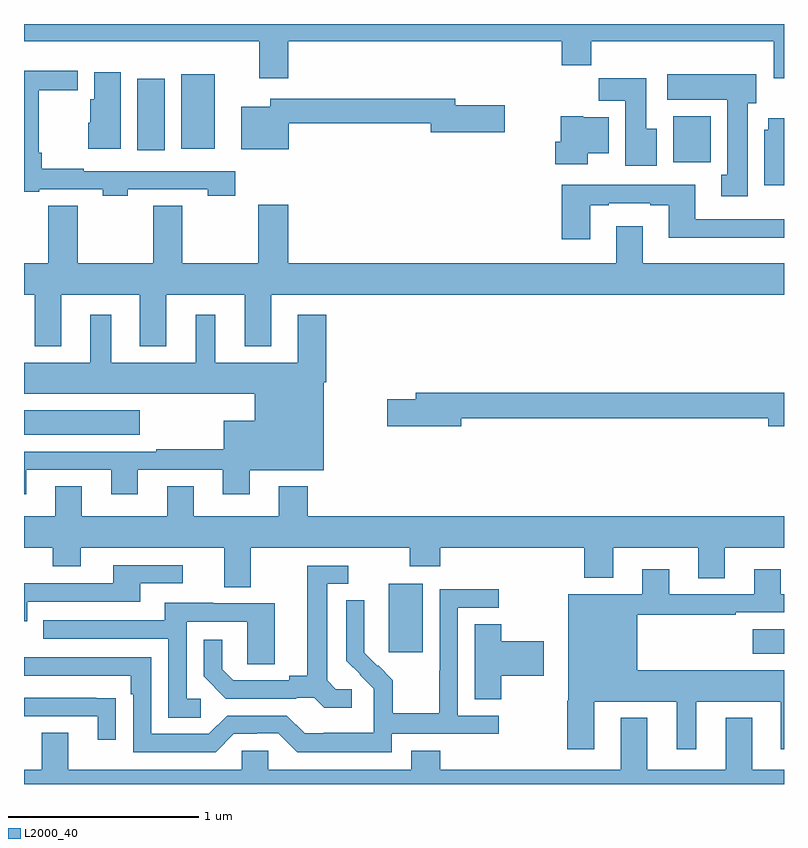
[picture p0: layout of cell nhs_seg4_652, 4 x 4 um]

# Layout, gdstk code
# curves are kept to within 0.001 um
import gdstk
lib = gdstk.Library(unit=1e-6, precision=1e-09)
def R(c, l, rs):  # rectangles x0, y0, x1, y1
    for r in rs: c.add(gdstk.rectangle(r[:2], r[2:], *l))
def P(c, l, *ps):  # polygons
    for p in ps: c.add(gdstk.Polygon(p, *l))
L2000_40 = (2000, 40)

nhs_seg4_652 = lib.new_cell('nhs_seg4_652')
R(nhs_seg4_652, L2000_40, [(146.835,805.586,147,805.714), (144.92,805.593,145.099,805.954), (143,806.738,143.608,806.866), (146.417,808.172,146.614,808.414), (143.597,808.236,143.74,808.612), (143.828,808.244,144.004,808.636)])
P(nhs_seg4_652, L2000_40, [(144.392,808.808),(145.829,808.808),(145.829,808.684),(145.985,808.684),(145.985,808.808),(146.945,808.808),(146.945,808.614),(147,808.614),(147,808.9),(143,808.9),(143,808.808),(144.239,808.808),(144.239,808.614),(144.392,808.614)],
  [(143.547,808.029),(143.967,808.029),(143.967,807.997),(144.112,807.997),(144.112,808.125),(143.315,808.125),(143.315,808.138),(143.093,808.138),(143.093,808.222),(143.078,808.222),(143.078,808.552),(143.284,808.552),(143.284,808.654),(143,808.654),(143,808.017),(143.08,808.017),(143.08,808.029),(143.415,808.029),(143.415,807.997),(143.547,807.997)],
  [(143.509,808.645),(143.369,808.645),(143.369,808.503),(143.348,808.503),(143.348,808.38),(143.339,808.38),(143.339,808.244),(143.509,808.244)],
  [(146.809,808.482),(146.854,808.482),(146.854,808.636),(146.385,808.636),(146.385,808.502),(146.702,808.502),(146.702,808.106),(146.669,808.106),(146.669,807.993),(146.809,807.993)],
  [(146.329,808.348),(146.275,808.348),(146.275,808.615),(146.026,808.615),(146.026,808.496),(146.165,808.496),(146.165,808.155),(146.329,808.155)],
  [(144.394,808.378),(145.142,808.378),(145.142,808.331),(145.531,808.331),(145.531,808.473),(145.27,808.473),(145.27,808.507),(144.296,808.507),(144.296,808.465),(144.143,808.465),(144.143,808.241),(144.394,808.241)],
  [(145.966,808.22),(146.077,808.22),(146.077,808.408),(145.944,808.408),(145.944,808.414),(145.826,808.414),(145.826,808.281),(145.796,808.281),(145.796,808.163),(145.966,808.163)],
  [(147,808.405),(146.918,808.405),(146.918,808.344),(146.897,808.344),(146.897,808.052),(147,808.052)],
  [(145.981,807.945),(146.077,807.945),(146.077,807.957),(146.297,807.957),(146.297,807.945),(146.393,807.945),(146.393,807.776),(147,807.776),(147,807.873),(146.533,807.873),(146.533,808.053),(145.829,808.053),(145.829,807.768),(145.981,807.768)],
  [(143.197,807.476),(143.609,807.476),(143.609,807.203),(143.749,807.203),(143.749,807.476),(144.161,807.476),(144.161,807.203),(144.301,807.203),(144.301,807.476),(147,807.476),(147,807.64),(146.257,807.64),(146.257,807.835),(146.117,807.835),(146.117,807.64),(144.392,807.64),(144.392,807.949),(144.232,807.949),(144.232,807.64),(143.834,807.64),(143.834,807.944),(143.68,807.944),(143.68,807.64),(143.282,807.64),(143.282,807.944),(143.128,807.944),(143.128,807.64),(143,807.64),(143,807.476),(143.057,807.476),(143.057,807.203),(143.197,807.203)],
  [(143.011,806.553),(143.459,806.553),(143.459,806.424),(143.599,806.424),(143.599,806.553),(144.047,806.553),(144.047,806.424),(144.187,806.424),(144.187,806.552),(144.577,806.552),(144.577,807.014),(144.59,807.014),(144.59,807.37),(144.44,807.37),(144.44,807.118),(144.007,807.118),(144.007,807.37),(143.903,807.37),(143.903,807.118),(143.458,807.118),(143.458,807.37),(143.348,807.37),(143.348,807.118),(143,807.118),(143,806.954),(144.215,806.954),(144.215,806.812),(144.05,806.812),(144.05,806.662),(143.695,806.662),(143.695,806.649),(143,806.649),(143,806.424),(143.011,806.424)],
  [(145.3,806.824),(146.918,806.824),(146.918,806.782),(147,806.782),(147,806.96),(145.061,806.96),(145.061,806.924),(144.912,806.924),(144.912,806.782),(145.3,806.782)],
  [(143.165,806.468),(143.165,806.308),(143,806.308),(143,806.144),(143.152,806.144),(143.152,806.045),(143.299,806.045),(143.299,806.144),(144.053,806.144),(144.053,805.936),(144.193,805.936),(144.193,806.144),(145.03,806.144),(145.03,806.045),(145.19,806.045),(145.19,806.144),(145.949,806.144),(145.949,805.985),(146.101,805.985),(146.101,806.144),(146.549,806.144),(146.549,805.984),(146.689,805.984),(146.689,806.144),(147,806.144),(147,806.308),(144.494,806.308),(144.494,806.467),(144.341,806.467),(144.341,806.308),(143.893,806.308),(143.893,806.468),(143.753,806.468),(143.753,806.308),(143.305,806.308),(143.305,806.468)],
  [(143.016,805.86),(143.611,805.86),(143.611,805.956),(143.836,805.956),(143.836,806.052),(143.471,806.052),(143.471,805.956),(143,805.956),(143,805.757),(143.016,805.757)],
  [(144.724,805.398),(144.642,805.398),(144.595,805.445),(144.595,805.953),(144.706,805.953),(144.706,806.049),(144.491,806.049),(144.491,805.469),(144.395,805.469),(144.395,805.446),(144.1,805.446),(144.043,805.503),(144.043,805.66),(143.946,805.66),(143.946,805.466),(144.062,805.35),(144.434,805.35),(144.434,805.353),(144.528,805.353),(144.58,805.301),(144.724,805.301)],
  [(146.002,805.334),(146.435,805.334),(146.435,805.083),(146.539,805.083),(146.539,805.334),(146.984,805.334),(146.984,805.083),(147,805.083),(147,805.498),(146.227,805.498),(146.227,805.791),(146.747,805.791),(146.747,805.803),(147,805.803),(147,805.899),(146.983,805.899),(146.983,806.029),(146.843,806.029),(146.843,805.899),(146.395,805.899),(146.395,806.029),(146.255,806.029),(146.255,805.9),(145.865,805.9),(145.865,805.338),(145.858,805.338),(145.858,805.083),(146.002,805.083)],
  [(144.936,805.164),(145.498,805.164),(145.498,805.26),(145.284,805.26),(145.284,805.827),(145.498,805.827),(145.498,805.926),(145.188,805.926),(145.188,805.496),(145.186,805.496),(145.186,805.273),(144.941,805.273),(144.941,805.447),(144.864,805.524),(144.861,805.521),(144.791,805.592),(144.792,805.868),(144.696,805.868),(144.696,805.55),(144.842,805.402),(144.842,805.305),(144.84,805.305),(144.84,805.171),(144.577,805.171),(144.577,805.167),(144.477,805.167),(144.384,805.26),(144.069,805.26),(143.973,805.164),(143.67,805.164),(143.67,805.566),(143,805.566),(143,805.47),(143.561,805.47),(143.561,805.373),(143.574,805.373),(143.574,805.068),(144.009,805.068),(144.105,805.164),(144.224,805.164),(144.224,805.167),(144.339,805.167),(144.439,805.067),(144.936,805.067)],
  [(143.929,805.35),(143.856,805.35),(143.856,805.755),(144.174,805.755),(144.174,805.531),(144.319,805.531),(144.319,805.851),(143.995,805.851),(143.995,805.855),(143.741,805.855),(143.741,805.761),(143.101,805.761),(143.101,805.665),(143.76,805.665),(143.76,805.249),(143.929,805.249)],
  [(145.512,805.469),(145.735,805.469),(145.735,805.652),(145.512,805.652),(145.512,805.742),(145.373,805.742),(145.373,805.345),(145.512,805.345)],
  [(143.483,805.352),(143.381,805.352),(143.381,805.353),(143,805.353),(143,805.257),(143.387,805.257),(143.387,805.134),(143.483,805.134)],
  [(147,804.976),(146.833,804.976),(146.833,805.249),(146.693,805.249),(146.693,804.976),(146.281,804.976),(146.281,805.249),(146.141,805.249),(146.141,804.976),(145.19,804.976),(145.19,805.075),(145.037,805.075),(145.037,804.976),(144.285,804.976),(144.285,805.074),(144.147,805.074),(144.147,804.976),(143.233,804.976),(143.233,805.171),(143.093,805.171),(143.093,804.976),(143,804.976),(143,804.9),(147,804.9)])

lib.write_gds('nhs_seg4_652.gds')
